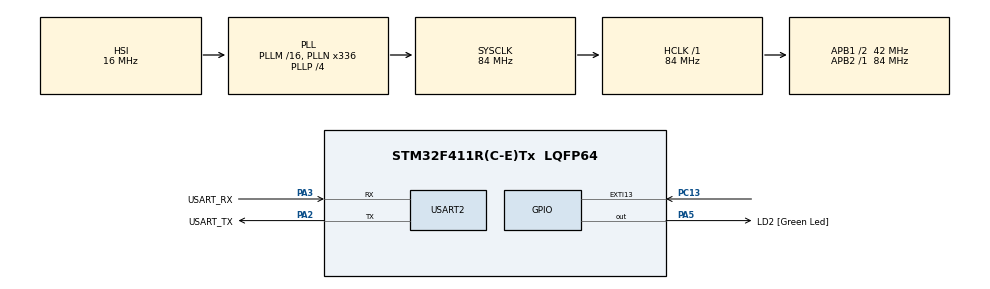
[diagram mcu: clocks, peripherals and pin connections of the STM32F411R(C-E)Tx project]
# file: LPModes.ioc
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Mcu.Family=STM32F4
Mcu.Name=STM32F411R(C-E)Tx
Mcu.Package=LQFP64
NVIC.EXTI15_10_IRQn=true\:0\:0\:false\:false\:true\:true\:true\:true
NVIC.PriorityGroup=NVIC_PRIORITYGROUP_0
PA13.GPIO_Label=TMS
PA13.Mode=Serial_Wire
PA13.Signal=SYS_JTMS-SWDIO
PA14.GPIO_Label=TCK
PA14.Mode=Serial_Wire
PA14.Signal=SYS_JTCK-SWCLK
PA2.GPIO_Label=USART_TX
PA2.Mode=Asynchronous
PA2.Signal=USART2_TX
PA3.GPIO_Label=USART_RX
PA3.Mode=Asynchronous
PA3.Signal=USART2_RX
PA5.GPIO_Label=LD2 [Green Led]
PA5.Signal=GPIO_Output
PB3.GPIO_Label=SWO
PB3.Signal=SYS_JTDO-SWO
PC13-ANTI_TAMP.Signal=GPXTI13
PC14-OSC32_IN.Mode=LSE-External-Oscillator
PC14-OSC32_IN.Signal=RCC_OSC32_IN
PC15-OSC32_OUT.Mode=LSE-External-Oscillator
PC15-OSC32_OUT.Signal=RCC_OSC32_OUT
PH0\ -\ OSC_IN.Mode=HSE-External-Clock-Source
PH0\ -\ OSC_IN.Signal=RCC_OSC_IN
PH1\ -\ OSC_OUT.Mode=HSE-External-Clock-Source
PH1\ -\ OSC_OUT.Signal=RCC_OSC_OUT
ProjectManager.HeapSize=0x200
ProjectManager.StackSize=0x400
ProjectManager.TargetToolchain=STM32CubeIDE
RCC.48MHZClocksFreq_Value=84000000
RCC.AHBFreq_Value=84000000
RCC.APB1CLKDivider=RCC_HCLK_DIV2
RCC.APB1Freq_Value=42000000
RCC.APB1TimFreq_Value=84000000
RCC.APB2Freq_Value=84000000
RCC.APB2TimFreq_Value=84000000
RCC.CortexFreq_Value=84000000
RCC.FLatency-AdvancedSettings=FLASH_LATENCY_2
RCC.HCLKFreq_Value=84000000
RCC.HSE_VALUE=8000000
RCC.HSI_VALUE=16000000
RCC.PLLN=336
RCC.PLLP=RCC_PLLP_DIV4
RCC.SYSCLKFreq_VALUE=84000000
RCC.SYSCLKSource=RCC_SYSCLKSOURCE_PLLCLK
RCC.VCOOutputFreq_Value=336000000
USART2.VirtualMode=VM_ASYNC
board=NUCLEO-F411RE

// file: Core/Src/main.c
/* USER CODE BEGIN Header */
/**
  ******************************************************************************
  * @file           : main.c
  * @brief          : Main program body
  ******************************************************************************
  * @attention
  *
  * Copyright (c) 2025 STMicroelectronics.
  * All rights reserved.
  *
  * This software is licensed under terms that can be found in the LICENSE file
  * in the root directory of this software component.
  * If no LICENSE file comes with this software, it is provided AS-IS.
  *
  ******************************************************************************
  */
/* USER CODE END Header */
#include "main.h"

UART_HandleTypeDef huart2;

/* USER CODE BEGIN PV */
int status = 0;
/* USER CODE END PV */

void SystemClock_Config(void);
static void MX_GPIO_Init(void);
static void MX_USART2_UART_Init(void);

int main(void)
{

  /* MCU Configuration--------------------------------------------------------*/

  /* Reset of all peripherals, Initializes the Flash interface and the Systick. */
  HAL_Init();

  /* Configure the system clock */
  SystemClock_Config();

  /* Initialize all configured peripherals */
  MX_GPIO_Init();
  MX_USART2_UART_Init();
  /* USER CODE BEGIN 2 */

  HAL_GPIO_WritePin(GPIOA, GPIO_PIN_5, 0);
  HAL_SuspendTick();
  HAL_PWR_EnterSTOPMode(PWR_LOWPOWERREGULATOR_ON, PWR_STOPENTRY_WFI);
  status = 1;

  /* USER CODE END 2 */

  /* Infinite loop */
  while (1)
  {

    /* USER CODE BEGIN 3 */

	  status = 2;
	  HAL_GPIO_WritePin(GPIOA, GPIO_PIN_5, 1);
	  HAL_Delay(5000);
	  HAL_GPIO_WritePin(GPIOA, GPIO_PIN_5, 0);
	  status = 3;
	  HAL_SuspendTick();
	  HAL_PWR_EnterSTOPMode(PWR_LOWPOWERREGULATOR_ON, PWR_STOPENTRY_WFI);

  }
  /* USER CODE END 3 */
}

void SystemClock_Config(void)
{
  RCC_OscInitTypeDef RCC_OscInitStruct = {0};
  RCC_ClkInitTypeDef RCC_ClkInitStruct = {0};

  /** Configure the main internal regulator output voltage
  */
  __HAL_RCC_PWR_CLK_ENABLE();
  __HAL_PWR_VOLTAGESCALING_CONFIG(PWR_REGULATOR_VOLTAGE_SCALE1);

  /** Initializes the RCC Oscillators according to the specified parameters
  * in the RCC_OscInitTypeDef structure.
  */
  RCC_OscInitStruct.OscillatorType = RCC_OSCILLATORTYPE_HSI;
  RCC_OscInitStruct.HSIState = RCC_HSI_ON;
  RCC_OscInitStruct.HSICalibrationValue = RCC_HSICALIBRATION_DEFAULT;
  RCC_OscInitStruct.PLL.PLLState = RCC_PLL_ON;
  RCC_OscInitStruct.PLL.PLLSource = RCC_PLLSOURCE_HSI;
  RCC_OscInitStruct.PLL.PLLM = 16;
  RCC_OscInitStruct.PLL.PLLN = 336;
  RCC_OscInitStruct.PLL.PLLP = RCC_PLLP_DIV4;
  RCC_OscInitStruct.PLL.PLLQ = 4;
  if (HAL_RCC_OscConfig(&RCC_OscInitStruct) != HAL_OK)
  {
    Error_Handler();
  }

  /** Initializes the CPU, AHB and APB buses clocks
  */
  RCC_ClkInitStruct.ClockType = RCC_CLOCKTYPE_HCLK|RCC_CLOCKTYPE_SYSCLK
                              |RCC_CLOCKTYPE_PCLK1|RCC_CLOCKTYPE_PCLK2;
  RCC_ClkInitStruct.SYSCLKSource = RCC_SYSCLKSOURCE_PLLCLK;
  RCC_ClkInitStruct.AHBCLKDivider = RCC_SYSCLK_DIV1;
  RCC_ClkInitStruct.APB1CLKDivider = RCC_HCLK_DIV2;
  RCC_ClkInitStruct.APB2CLKDivider = RCC_HCLK_DIV1;

  if (HAL_RCC_ClockConfig(&RCC_ClkInitStruct, FLASH_LATENCY_2) != HAL_OK)
  {
    Error_Handler();
  }
}

static void MX_USART2_UART_Init(void)
{

  huart2.Instance = USART2;
  huart2.Init.BaudRate = 115200;
  huart2.Init.WordLength = UART_WORDLENGTH_8B;
  huart2.Init.StopBits = UART_STOPBITS_1;
  huart2.Init.Parity = UART_PARITY_NONE;
  huart2.Init.Mode = UART_MODE_TX_RX;
  huart2.Init.HwFlowCtl = UART_HWCONTROL_NONE;
  huart2.Init.OverSampling = UART_OVERSAMPLING_16;
  if (HAL_UART_Init(&huart2) != HAL_OK)
  {
    Error_Handler();
  }

}

static void MX_GPIO_Init(void)
{
  GPIO_InitTypeDef GPIO_InitStruct = {0};

  /* GPIO Ports Clock Enable */
  __HAL_RCC_GPIOC_CLK_ENABLE();
  __HAL_RCC_GPIOH_CLK_ENABLE();
  __HAL_RCC_GPIOA_CLK_ENABLE();
  __HAL_RCC_GPIOB_CLK_ENABLE();

  /*Configure GPIO pin Output Level */
  HAL_GPIO_WritePin(LD2_GPIO_Port, LD2_Pin, GPIO_PIN_RESET);

  /*Configure GPIO pin : PC13 */
  GPIO_InitStruct.Pin = GPIO_PIN_13;
  GPIO_InitStruct.Mode = GPIO_MODE_IT_RISING;
  GPIO_InitStruct.Pull = GPIO_NOPULL;
  HAL_GPIO_Init(GPIOC, &GPIO_InitStruct);

  /*Configure GPIO pin : LD2_Pin */
  GPIO_InitStruct.Pin = LD2_Pin;
  GPIO_InitStruct.Mode = GPIO_MODE_OUTPUT_PP;
  GPIO_InitStruct.Pull = GPIO_NOPULL;
  GPIO_InitStruct.Speed = GPIO_SPEED_FREQ_LOW;
  HAL_GPIO_Init(LD2_GPIO_Port, &GPIO_InitStruct);

  /* EXTI interrupt init*/
  HAL_NVIC_SetPriority(EXTI15_10_IRQn, 0, 0);
  HAL_NVIC_EnableIRQ(EXTI15_10_IRQn);

}

/* USER CODE BEGIN 4 */
void HAL_GPIO_EXTI_Callback(uint16_t GPIO_Pin)
{
  if(GPIO_Pin == GPIO_PIN_13) {
	  HAL_ResumeTick();
  } else {
      __NOP();
  }
}
/* USER CODE END 4 */

void Error_Handler(void)
{
  __disable_irq();
  while (1)
  {
  }
}
